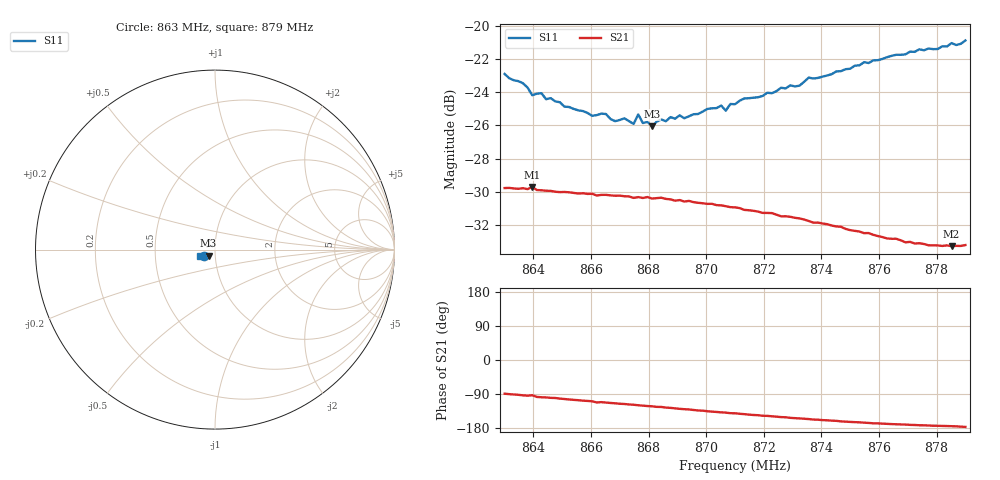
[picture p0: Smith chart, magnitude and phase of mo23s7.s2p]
# HZ S RI R 50
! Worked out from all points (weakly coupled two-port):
!   101 points, 863 MHz to 879 MHz, reference 50 ohm
!   highest |S21| = -29.70 dB at 863.96 MHz (marker M1); lowest = -33.3 dB at 878.52 MHz (marker M2)
!   lowest |S11| = -26.1 dB at 868.12 MHz (marker M3), VSWR 1.10, Z = 46.4 - j3.2 ohm
!   |S11| at or under -10 dB: start of sweep to end of sweep
!   S12 and S22 are empty: the file has one direction only
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8.63e8  -0.0623 -0.0353  0.000619 -0.0325  0 0  0 0
8.6364e8  -0.0587 -0.0325  -0.00189 -0.0324  0 0  0 0
8.6396e8  -0.0521 -0.0331  -0.00172 -0.0327  0 0  0 0
8.6428e8  -0.0532 -0.033  -0.00462 -0.0317  0 0  0 0
8.6444e8  -0.0512 -0.0313  -0.00486 -0.0315  0 0  0 0
8.6572e8  -0.0448 -0.0325  -0.00934 -0.0299  0 0  0 0
8.6684e8  -0.0403 -0.0322  -0.0126 -0.0281  0 0  0 0
8.6716e8  -0.0407 -0.0333  -0.0135 -0.0276  0 0  0 0
8.6748e8  -0.0378 -0.0336  -0.0143 -0.0268  0 0  0 0
8.6764e8  -0.0404 -0.036  -0.015 -0.0266  0 0  0 0
8.678e8  -0.039 -0.0328  -0.0154 -0.0261  0 0  0 0
8.6812e8  -0.0361 -0.0343  -0.0161 -0.0256  0 0  0 0
8.6844e8  -0.0378 -0.036  -0.0169 -0.0252  0 0  0 0
8.6924e8  -0.0358 -0.0386  -0.0189 -0.0227  0 0  0 0
8.7052e8  -0.0377 -0.0434  -0.0215 -0.0192  0 0  0 0
8.7068e8  -0.036 -0.0422  -0.0216 -0.0188  0 0  0 0
8.7084e8  -0.0383 -0.0437  -0.0219 -0.0182  0 0  0 0
8.71e8  -0.0377 -0.0442  -0.022 -0.018  0 0  0 0
8.7372e8  -0.047 -0.051  -0.0235 -0.00995  0 0  0 0
8.7644e8  -0.0646 -0.049  -0.0225 -0.0043  0 0  0 0
8.7852e8  -0.0785 -0.0411  -0.0216 -0.00202  0 0  0 0
8.79e8  -0.0821 -0.0375  -0.0219 -0.00132  0 0  0 0
